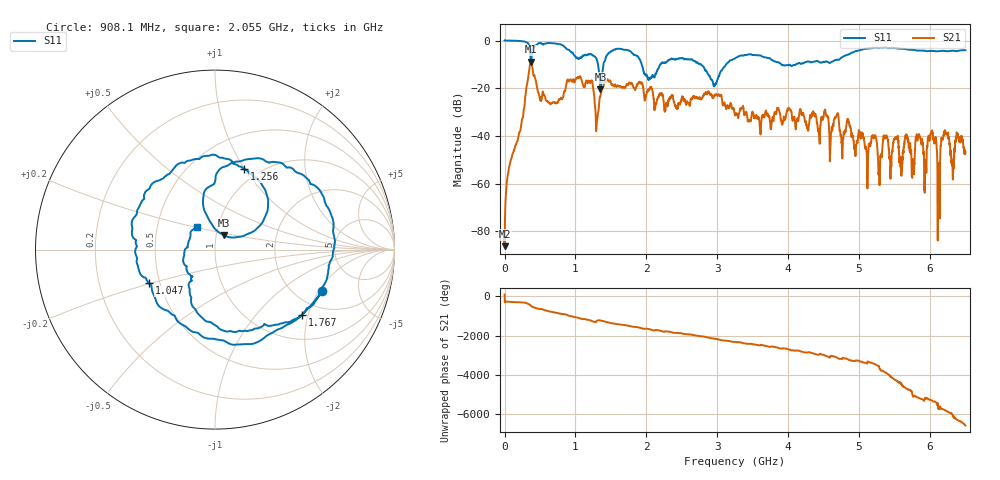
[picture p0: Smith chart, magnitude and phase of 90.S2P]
!Keysight Technologies,E5063A,MY54503115,A.05.08
!Date: Mon Dec 11 15:01:52 2023
!Data & Calibration Information:
!Freq	S11:NONE(--)	S21:NONE(--)	S12:NONE(--)	S22:NONE(--)
# Hz S dB R 50
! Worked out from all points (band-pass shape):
!   10001 points, 100 kHz to 6.5 GHz, reference 50 ohm
!   highest |S21| = -8.84 dB at 373.8 MHz (marker M1); lowest = -86.2 dB at 2.7 MHz (marker M2)
!   |S21| within 3 dB of the highest: 348.1 MHz to 394.7 MHz (46.62 MHz wide, 12.6 % of centre)
!   lowest |S11| = -20.5 dB at 1.353 GHz (marker M3), VSWR 1.21, Z = 54.3 + j8.93 ohm
!   |S11| at or under -10 dB: 1.934 GHz to 2.197 GHz (263.6 MHz wide, 12.8 % of centre); 2.767 GHz to 3.124 GHz (356.8 MHz wide, 12.1 % of centre); 3.904 GHz to 4.108 GHz (203.9 MHz wide, 5.09 % of centre) (the widest 3 of 4)
!   S12 and S22 are empty: the file has one direction only
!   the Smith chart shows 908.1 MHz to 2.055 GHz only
!   S11 on the Smith chart (normalised r, x): 908.1 MHz: 2.77, -2.14; 1.047 GHz: 0.43, -0.20; 1.256 GHz: 0.86, +1.00; 1.767 GHz: 1.58, -1.83; 2.055 GHz: 0.79, +0.20
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100000  0.05 -0.6  -80.27 82.2  -200.00 0.0  -200.00 0.0
2699960  -0.00 -1.2  -86.19 80.3  -200.00 0.0  -200.00 0.0
6.054907e7  -0.01 -19.6  -53.44 74.5  -200.00 0.0  -200.00 0.0
2.308464e8  -0.21 -76.7  -35.98 47.1  -200.00 0.0  -200.00 0.0
3.738442e8  -8.77 -119.8  -8.84 -132.2  -200.00 0.0  -200.00 0.0
5.785911e8  -1.27 169.0  -24.89 -8.4  -200.00 0.0  -200.00 0.0
7.261388e8  -1.28 97.1  -26.36 -130.9  -200.00 0.0  -200.00 0.0
9.08136e8  -3.86 -20.9  -17.17 90.0  -200.00 0.0  -200.00 0.0
1.047234e9  -7.68 -153.1  -15.49 -32.2  -200.00 0.0  -200.00 0.0
1.083633e9  -7.16 176.9  -16.48 -72.3  -200.00 0.0  -200.00 0.0
1.255881e9  -6.42 69.9  -21.29 142.0  -200.00 0.0  -200.00 0.0
1.30203e9  -8.11 41.1  -33.96 -169.0  -200.00 0.0  -200.00 0.0
1.352729e9  -20.49 59.6  -23.24 -158.4  -200.00 0.0  -200.00 0.0
1.500277e9  -4.57 55.5  -17.76 65.3  -200.00 0.0  -200.00 0.0
1.767423e9  -4.35 -37.0  -17.72 -81.7  -200.00 0.0  -200.00 0.0
2.055368e9  -15.95 129.3  -19.80 108.7  -200.00 0.0  -200.00 0.0
2.167167e9  -11.68 51.0  -23.72 66.5  -200.00 0.0  -200.00 0.0
2.965354e9  -18.27 -49.8  -22.64 -1.2  -200.00 0.0  -200.00 0.0
3.25005e9  -7.47 -49.7  -31.31 -171.3  -200.00 0.0  -200.00 0.0
4.333583e9  -9.02 -128.9  -31.71 -5.2  -200.00 0.0  -200.00 0.0
5.417117e9  -3.14 162.4  -44.81 -32.9  -200.00 0.0  -200.00 0.0
6.5e9  -4.06 108.9  -46.67 -90.8  -200.00 0.0  -200.00 0.0
